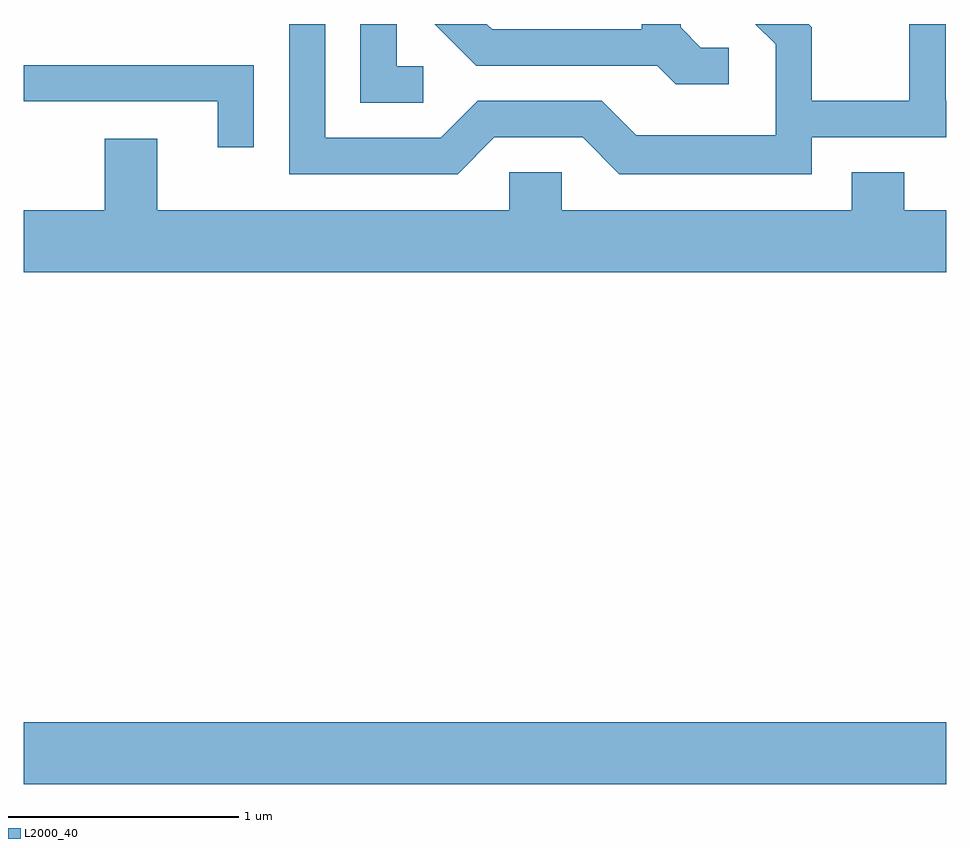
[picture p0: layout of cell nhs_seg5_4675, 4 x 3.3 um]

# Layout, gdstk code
import gdstk
lib = gdstk.Library(unit=1e-6, precision=1e-09)
def R(c, l, rs):  # rectangles x0, y0, x1, y1
    for r in rs: c.add(gdstk.rectangle(r[:2], r[2:], *l))
def P(c, l, *ps):  # polygons
    for p in ps: c.add(gdstk.Polygon(p, *l))
L2000_40 = (2000, 40)

nhs_seg5_4675 = lib.new_cell('nhs_seg5_4675')
R(nhs_seg5_4675, L2000_40, [(323.611,1476.776,327.611,1477.044)])
P(nhs_seg5_4675, L2000_40, [(325.343,1479.889),(325.229,1479.889),(325.229,1480.072),(325.071,1480.072),(325.071,1479.731),(325.343,1479.731)],
  [(326.668,1479.969),(326.547,1479.969),(326.459,1480.057),(326.459,1480.072),(326.291,1480.072),(326.291,1480.049),(325.642,1480.049),(325.619,1480.072),(325.393,1480.072),(325.574,1479.891),(326.359,1479.891),(326.439,1479.811),(326.668,1479.811)],
  [(325.652,1479.581),(326.034,1479.581),(326.194,1479.421),(327.029,1479.421),(327.029,1479.581),(327.611,1479.581),(327.611,1479.739),(327.609,1479.739),(327.609,1480.072),(327.451,1480.072),(327.451,1479.739),(327.029,1479.739),(327.029,1480.057),(327.014,1480.072),(326.783,1480.072),(326.871,1479.984),(326.871,1479.589),(326.267,1479.589),(326.117,1479.739),(325.579,1479.739),(325.419,1479.579),(324.919,1479.579),(324.919,1480.072),(324.761,1480.072),(324.761,1479.421),(325.492,1479.421)],
  [(324.609,1479.894),(323.611,1479.894),(323.611,1479.736),(324.451,1479.736),(324.451,1479.538),(324.609,1479.538)],
  [(327.611,1479.264),(327.429,1479.264),(327.429,1479.429),(327.201,1479.429),(327.201,1479.264),(325.944,1479.264),(325.944,1479.429),(325.716,1479.429),(325.716,1479.264),(324.189,1479.264),(324.189,1479.574),(323.961,1479.574),(323.961,1479.264),(323.611,1479.264),(323.611,1478.996),(327.611,1478.996)])

lib.write_gds('nhs_seg5_4675.gds')
